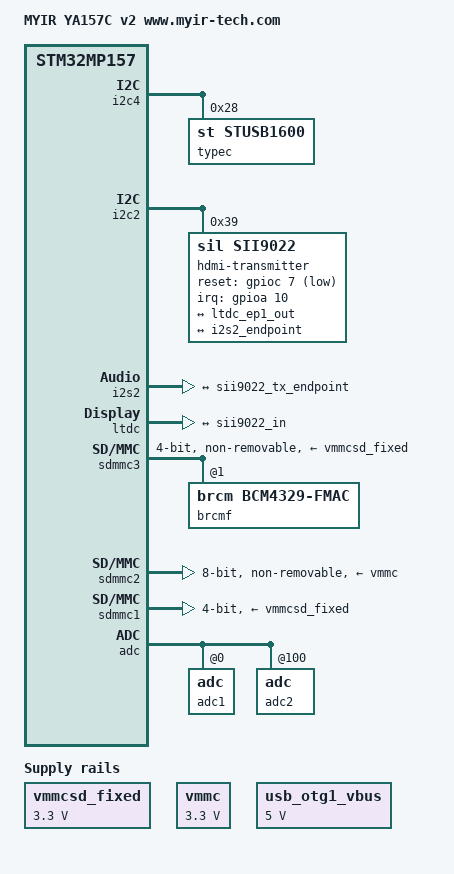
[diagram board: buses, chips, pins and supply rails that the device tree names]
// SPDX-License-Identifier: (GPL-2.0+ OR BSD-3-Clause)
/*
* Copyright (C) MYIR 2019 - All Rights Reserved
* Author: myir
* support:support.cn@myirtech.com 
*/

/dts-v1/;

#include "stm32mp157c-ya157c.dts"

/ {
    model = "MYIR YA157C v2 www.myir-tech.com";
    compatible = "myir,stm32mp157c-ya157c-v2","st,stm32mp157c-dk2", "st,stm32mp157";
    
    sound {
        compatible = "audio-graph-card";
        label = "STM32MP1-DK";
        routing =
                "Playback" , "MCLK",
                "Capture" , "MCLK",
                "MICL" , "Mic Bias";
        dais = </*&sai2a_port &sai2b_port */&i2s2_port>;
        status = "okay";
    };

    vmmcsd_fixed: fixedregulator0 {
	compatible = "regulator-fixed";
	regulator-name = "vmmcsd_fixed";
	regulator-min-microvolt = <3300000>;
        regulator-max-microvolt = <3300000>;
		
	};

    vmmc: fixedregulator@1 {
        compatible = "regulator-fixed";
        regulator-name = "vmmc";
        regulator-min-microvolt = <3300000>;
        regulator-max-microvolt = <3300000>;
        startup-delay-us = <70000>;
        enable-active-high;  
    };


	regulators {
	    compatible = "simple-bus";
            #address-cells = <1>;
            #size-cells = <0>;

			
	    usb_otg1_vbus: pwr_sw2 {
                compatible = "regulator-fixed";
                reg = <1>;
                regulator-name = "usb_otg1_vbus";
                regulator-min-microvolt = <5000000>;
                regulator-max-microvolt = <5000000>;
                enable-active-high;
		};
	};

};

&i2c4 {
	pinctrl-names = "default", "sleep";
	pinctrl-0 = <&i2c4_pins_a>;
	pinctrl-1 = <&i2c4_pins_sleep_a>;
	i2c-scl-rising-time-ns = <185>;
	i2c-scl-falling-time-ns = <20>;
	status = "okay";
	/delete-property/dmas;
	/delete-property/dma-names;

	typec: stusb1600@28 {
		compatible = "st,stusb1600";
		reg = <0x28>;
		status = "okay";

		typec_con: connector {
			compatible = "usb-c-connector";
			label = "USB-C";
			power-role = "sink";
			power-opmode = "default";
		};
	};

	pmic: stpmic@33 {
		compatible = "st,stpmic1";
		reg = <0x33>;
		interrupts-extended = <&exti_pwr 55 IRQ_TYPE_EDGE_FALLING>;
		interrupt-controller;
		#interrupt-cells = <2>;
		status = "disable";
	};
    
};


&i2c2 {
	hdmi-transmitter@39 {
		compatible = "sil,sii9022";
		reg = <0x39>;
	//	iovcc-supply = <&v3v3_hdmi>;
	//	cvcc12-supply = <&v1v2_hdmi>;
		reset-gpios = <&gpioc 7 GPIO_ACTIVE_LOW>;
		interrupts = <10 IRQ_TYPE_EDGE_FALLING>;
		interrupt-parent = <&gpioa>;
		pinctrl-names = "default", "sleep";
		pinctrl-0 = <&ltdc_pins_a>;
		pinctrl-1 = <&ltdc_pins_sleep_a>;
		status = "okay";

		ports {
			#address-cells = <1>;
			#size-cells = <0>;

			port@0 {
				reg = <0>;
				sii9022_in: endpoint {
					remote-endpoint = <&ltdc_ep1_out>;
				};
			};

			port@1 {
				reg = <1>;
				sii9022_tx_endpoint: endpoint {
					remote-endpoint = <&i2s2_endpoint>;
				};
			};
		};
	};


};

&i2s2 {
	clocks = <&rcc SPI2>, <&rcc SPI2_K>, <&rcc PLL3_Q>, <&rcc PLL3_R>;
	clock-names = "pclk", "i2sclk", "x8k", "x11k";
	pinctrl-names = "default", "sleep";
	pinctrl-0 = <&i2s2_pins_a>;
	pinctrl-1 = <&i2s2_pins_sleep_a>;
	status = "okay";

	i2s2_port: port {
		i2s2_endpoint: endpoint {
			remote-endpoint = <&sii9022_tx_endpoint>;
			format = "i2s";
			mclk-fs = <256>;
		};
	};
};


/* test HDMI*/
&ltdc {
    status = "okay";
    port {
            #address-cells = <1>;
            #size-cells = <0>;

            ltdc_ep1_out: endpoint@1 {
                          reg = <1>;
                          remote-endpoint = <&sii9022_in>;
                         };
        };
};

/* Wifi */
&sdmmc3 {
	arm,primecell-periphid = <0x10153180>;
	pinctrl-names = "default", "opendrain", "sleep";
	pinctrl-0 = <&sdmmc3_b4_pins_a>;
	pinctrl-1 = <&sdmmc3_b4_od_pins_a>;
	pinctrl-2 = <&sdmmc3_b4_sleep_pins_a>;
	non-removable;
	st,neg-edge;
	bus-width = <4>;
	vmmc-supply = <&vmmcsd_fixed>;
	mmc-pwrseq = <&wifi_pwrseq>;
	#address-cells = <1>;
	#size-cells = <0>;
	keep-power-in-suspend;
	status = "okay";

	brcmf: bcrmf@1 {
		reg = <1>;
		compatible = "brcm,bcm4329-fmac";
	};
};

/*emmc*/
&sdmmc2 {
        pinctrl-names = "default", "opendrain", "sleep";
        pinctrl-0 = <&sdmmc2_b4_pins_a &sdmmc2_d47_pins_a>;
        pinctrl-1 = <&sdmmc2_b4_od_pins_a &sdmmc2_d47_pins_a>;
        pinctrl-2 = <&sdmmc2_b4_sleep_pins_a &sdmmc2_d47_sleep_pins_a>;
        non-removable;
        no-sd;
        no-sdio;
        st,dirpol;
        st,negedge; 
        bus-width = <8>;
	    vmmc-supply = <&vmmc>;
        vqmmc-supply = <&vmmc>;
        status = "okay";
};

/*SD card*/
&sdmmc1 {
	pinctrl-names = "default", "opendrain", "sleep";
	pinctrl-0 = <&sdmmc1_b4_pins_a>;
	pinctrl-1 = <&sdmmc1_b4_od_pins_a>;
	pinctrl-2 = <&sdmmc1_b4_sleep_pins_a>;
	broken-cd;
	st,neg-edge;
	bus-width = <4>;
	vmmc-supply = <&vmmcsd_fixed>;
	status = "okay";
};

/*myir pin header
 *ANA0  ANA1 
 *PF13(ADC2_INP2) PF11(ADC1_INP2) 
 *PF14(ADC2_INP6 or ADC2_INN2) 
 *PF12(ADC1_INP6 or ADC1_INN2)
 *
 */
&adc {
	status = "okay";
	adc1: adc@0 {
		/*
		 * Type-C USB_PWR_CC1 & USB_PWR_CC2 on in18 & in19.
		 * Use at least 5 * RC time, e.g. 5 * (Rp + Rd) * C:
		 * 5 * (56 + 47kOhms) * 5pF => 2.5us.
		 * Use arbitrary margin here (e.g. 5µs).
		 */
		st,min-sample-time-nsecs = <5000>;
		/* ANA0, ANA1, USB Type-C CC1 & CC2 */
		st,adc-channels = <0 1 18 19>;
		status = "okay";
	};
	adc2: adc@100 {
		/* ANA0, ANA1, temp sensor, USB Type-C CC1 & CC2 */
		st,adc-channels = <0 1 12 18 19>;
		/* temperature sensor min sample time */
		st,min-sample-time-nsecs = <10000>;
		status = "okay";
	};
	adc_temp: temp {
		status = "okay";
	};
};

&vrefbuf {
	regulator-min-microvolt = <2500000>;
	regulator-max-microvolt = <2500000>;
	vdda-supply = <&vdd>;
	status = "disable";
};
